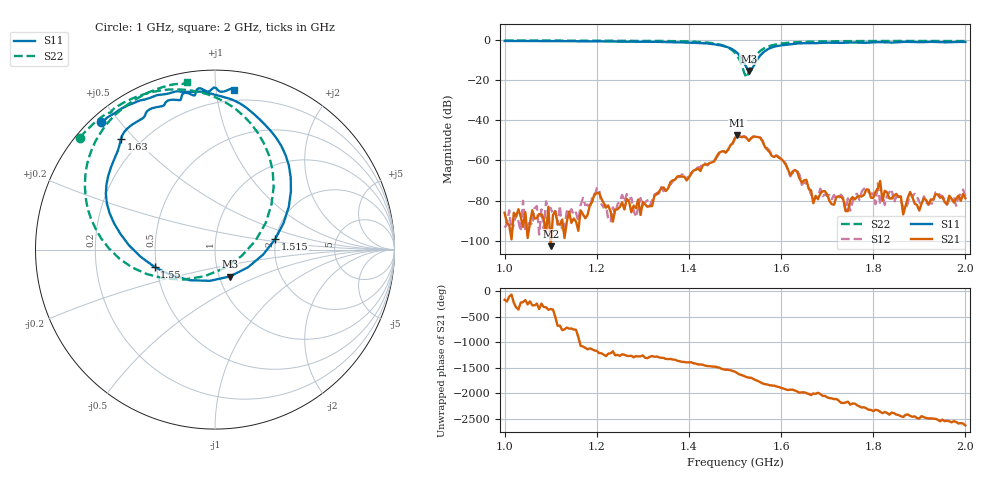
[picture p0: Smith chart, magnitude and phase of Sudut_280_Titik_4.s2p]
# Hz S RI R 50
! CMT, C1220, 16058040, 17.2.0/1
! Date: 14/08/2018 12:32:57
! Data: Format (Calibration Info)
! Freq  S11: Re/Im (F2)  S21: Re/Im (F2)  S12: Re/Im (F2)  S22: Re/Im (F2)
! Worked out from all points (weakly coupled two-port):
!   201 points, 1 GHz to 2 GHz, reference 50 ohm
!   highest |S21| = -47.41 dB at 1.505 GHz (marker M1); lowest = -102.7 dB at 1.1 GHz (marker M2)
!   lowest |S11| = -15.3 dB at 1.53 GHz (marker M3), VSWR 1.41, Z = 56.1 - j17.3 ohm
!   |S11| at or under -10 dB: 1.517 GHz to 1.548 GHz (31.05 MHz wide, 2.03 % of centre)
!   |S22| runs from -18.7 to -0.2 dB; largest |S21 - S12| = 0.00028
!   S11 on the Smith chart (normalised r, x): 1 GHz: 0.03, +0.45; 1.515 GHz: 1.99, +0.26; 1.55 GHz: 0.49, -0.11; 1.63 GHz: 0.13, +0.46; 2 GHz: 0.12, +1.12
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1e9  -0.6332 0.7082  -4.87e-05 -1.15e-05  2.11e-05 1.48e-06  -0.7533 0.6239
1.1e9  -0.5354 0.7777  7.16e-06 1.59e-06  5.76e-05 3.07e-05  -0.6809 0.6982
1.17e9  -0.4564 0.8155  4.59e-05 5.87e-08  0.000103 -5.5e-05  -0.6172 0.7491
1.335e9  -0.1923 0.8803  -0.000141 8.88e-05  -0.00015 3.62e-06  -0.402 0.8633
1.45e9  0.1943 0.7743  0.00075 -0.0005  0.000741 -0.000499  0.0205 0.84
1.5e9  0.4229 0.326  -0.00254 -0.00264  -0.00235 -0.00249  0.3269 0.3495
1.505e9  0.4115 0.2405  -0.00405 -0.00131  -0.00388 -0.00144  0.3148 0.2522
1.515e9  0.3353 0.058  -0.00354 0.00136  -0.00363 0.00128  0.2268 0.051
1.53e9  0.0818 -0.1501  -0.0011 0.00287  -0.00112 0.00287  -0.0573 -0.1482
1.55e9  -0.3362 -0.0973  0.00274 0.00268  0.00264 0.00279  -0.4641 -0.0981
1.62e9  -0.5341 0.5744  -0.000242 -0.000352  -0.00023 -0.000328  -0.707 0.4974
1.63e9  -0.5236 0.6169  -0.000457 -0.000357  -0.000365 -0.000363  -0.6921 0.5425
1.67e9  -0.4051 0.7304  -8.17e-05 2.85e-05  -8.93e-05 3.96e-05  -0.6251 0.6702
1.685e9  -0.3882 0.7523  -0.000131 6.93e-05  -0.000152 0.000128  -0.6007 0.7026
1.755e9  -0.258 0.8319  9.75e-05 -7.45e-05  9.17e-05 -7.13e-06  -0.4907 0.8052
1.78e9  -0.196 0.8326  -4.62e-05 -0.000132  -8.05e-05 -0.000182  -0.4551 0.8299
1.805e9  -0.1803 0.8673  -0.000155 -6.06e-05  8.21e-06 -8.11e-05  -0.4194 0.8511
1.81e9  -0.1733 0.8723  -0.000194 -3.56e-05  -0.000258 -7.86e-05  -0.4128 0.8545
1.815e9  -0.1643 0.874  -0.000296 8.59e-05  -5.52e-05 -6.01e-05  -0.4057 0.8584
1.82e9  -0.153 0.8722  -7.04e-05 7.01e-05  -0.000146 -1.45e-05  -0.3989 0.8616
1.835e9  -0.1208 0.8591  -2.89e-05 0.00011  -0.000115 0.000114  -0.3787 0.8716
2e9  0.1064 0.8916  -3.11e-05 -0.000111  -1.79e-06 -0.000128  -0.1553 0.9313
